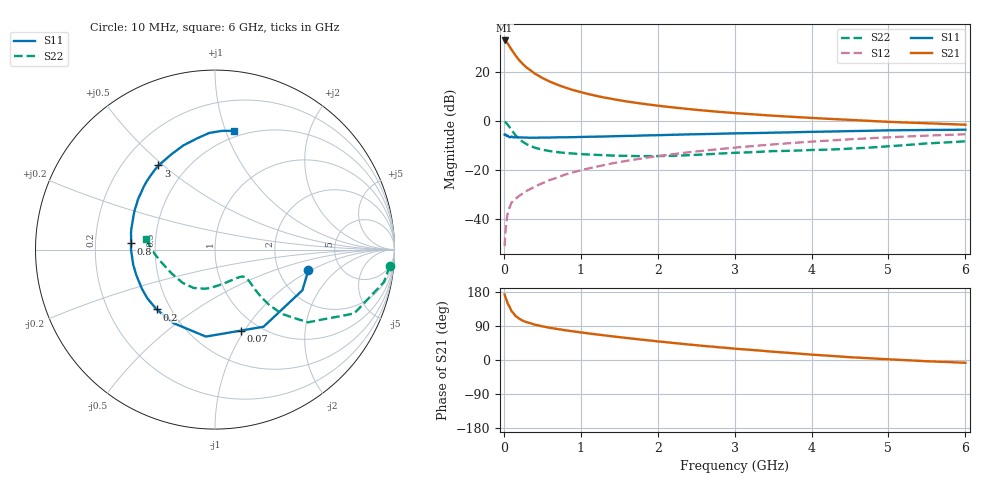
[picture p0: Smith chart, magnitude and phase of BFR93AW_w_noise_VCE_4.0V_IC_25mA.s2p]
! Infineon Technologies  Discrete & RF Semiconductors
! BFR93AW
! VCE =  4.0 V,  IC =  25 mA
! Common Emitter S-Parameters:  Jan 2017
# GHz  S  MA  R  50
!  f  S11  S21  S12  S22
! GHz  MAG  ANG  MAG  ANG  MAG  ANG  MAG  ANG
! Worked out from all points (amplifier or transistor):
!   77 points, 10 MHz to 6 GHz, reference 50 ohm
!   highest |S21| = 33.0 dB at 10 MHz (marker M1)
!   |S21| within 3 dB of that: start of sweep to 84.98 MHz
!   unconditionally stable (mu >= 1): 587.5 MHz to 2.048 GHz
!   at 130 MHz: K = 0.50, MSG = 30.1 dB, |S12| = -32.4 dB
!   at 2.2 GHz: K = 0.99, MSG = 9.5 dB, |S12| = -13.5 dB
!   at 6 GHz: K = 0.88, MSG = 1.9 dB, |S12| = -5.3 dB
!   lowest NFmin = 1.66 dB at 450 MHz
!   S11 on the Smith chart (normalised r, x): 10 MHz: 2.93, -0.95; 70 MHz: 0.83, -0.96; 200 MHz: 0.42, -0.36; 800 MHz: 0.36, +0.03; 3 GHz: 0.35, +0.48; 6 GHz: 0.44, +1.07
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0.01  0.5323 -12.6  44.59 172.9  0.0028 85.1  0.9785 -5.4
0.02  0.5373 -24.9  44.31 166.4  0.0053 82.4  0.9583 -10.9
0.05  0.5078 -57.8  38.76 148.6  0.0132 68.4  0.8536 -24.6
0.07  0.4735 -72.5  34.42 142.0  0.0165 64.2  0.7702 -29.2
0.1  0.4873 -96.0  29.11 128.6  0.0216 60.3  0.6571 -38.1
0.15  0.4706 -119.6  22.18 116.7  0.0258 58.1  0.5193 -43.8
0.2  0.4658 -134.3  17.61 109.0  0.0299 58.6  0.4324 -45.6
0.25  0.4645 -144.4  14.54 103.3  0.0339 59.6  0.3756 -45.8
0.3  0.462 -152.0  12.31 99.4  0.0379 60.9  0.336 -45.3
0.4  0.4607 -162.1  9.449 93.3  0.0457 63.8  0.2883 -44.0
0.5  0.4634 -169.5  7.627 88.8  0.0541 65.6  0.2617 -42.8
0.6  0.4638 -175.3  6.417 85.0  0.0629 66.8  0.2448 -42.4
0.7  0.468 -180.0  5.527 81.7  0.0712 68.4  0.233 -42.2
0.8  0.4692 175.8  4.86 78.4  0.0815 69.5  0.2246 -42.8
1.1  0.4806 165.8  3.584 70.2  0.1084 69.4  0.2091 -46.5
1.5  0.4962 155.0  2.681 60.4  0.1459 67.8  0.1967 -55.8
2.1  0.5227 141.2  1.992 47.2  0.2027 63.6  0.1949 -75.6
3  0.5646 123.9  1.466 29.9  0.2881 55.9  0.2262 -105.4
3.1  0.5672 122.1  1.43 28.4  0.2974 54.8  0.2288 -108.3
4.1  0.6098 105.4  1.145 12.9  0.3911 44.6  0.2598 -137.5
5.1  0.6526 91.5  0.957 0.8  0.4759 33.4  0.315 -169.6
6  0.6705 81.0  0.847 -7.3  0.5408 23.2  0.3879 171.2
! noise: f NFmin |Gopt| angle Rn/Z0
0.45  1.66  0.17  171  0.16
0.9  1.93  0.25  -177  0.16
1.9  2.93  0.49  -136  0.25
2.4  3.59  0.55  -125  0.5
